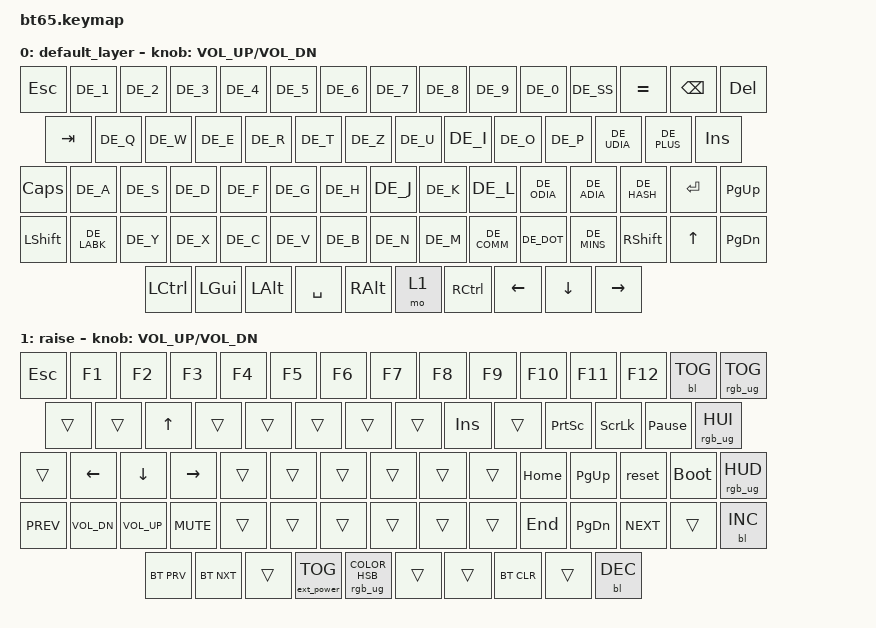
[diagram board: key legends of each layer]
#include <behaviors.dtsi>
#include <dt-bindings/zmk/keys.h>
#include <dt-bindings/zmk/bt.h>
#include <dt-bindings/zmk/rgb.h>
#include <dt-bindings/zmk/backlight.h>
#include <dt-bindings/zmk/ext_power.h>
#include "keymap_german.h"


/ {
	keymap {
		compatible = "zmk,keymap";

		default_layer {
				// ------------------------------------------------------------------------------------------------------------
				// |  ESC  |  1  |  2  |  3  |  4  |  5  |  6  |  7  |  8  |  9  |  0  |  ß  |  =  |BKSP | DEL		|
				// | TAB  |  Q  |  W  |  E  |  R  |  T  |  Z  |  U  |  I  |  O  |  P  |  Ü  |  +  |    INS	|
				// | CAPS  |  A  |  S  |  D  |  F  |  G  |  H  |  J  |  K  |  L  |  Ö  |  Ä  |  #  |   ENTER   |PGUP	|
				// |  SHIFT |  <  |  Y  |  X  |  C  |  V  |  B  |  N  |  M  |  ,  |  .  |  - |   SHIFT  | UP   |   PGDN |
				// |  CTL  |  WIN  |  ALT  |          SPACE           | ALT | Layer 1 |  CTL| LEFT |  DOWN    | RIGHT	|
				// ------------------------------------------------------------------------------------------------------------
			bindings = <

				&kp ESC &kp DE_1 &kp DE_2 &kp DE_3 &kp DE_4 &kp DE_5 &kp DE_6 &kp DE_7 &kp  DE_8   &kp  DE_9   &kp DE_0 &kp DE_SS &kp EQUAL &kp BKSP &kp DEL
				&kp TAB  &kp DE_Q  &kp DE_W  &kp DE_E  &kp DE_R  &kp DE_T  &kp DE_Z  &kp DE_U  &kp  DE_I    &kp  DE_O  &kp  DE_P   &kp DE_UDIA &kp DE_PLUS &kp INS
				&kp CLCK  &kp DE_A  &kp DE_S  &kp DE_D  &kp DE_F  &kp DE_G  &kp DE_H  &kp DE_J  &kp  DE_K    &kp  DE_L  &kp DE_ODIA &kp DE_ADIA &kp DE_HASH &kp RET &kp PG_UP
				&kp LSHFT &kp DE_LABK &kp DE_Y  &kp DE_X  &kp DE_C  &kp DE_V  &kp DE_B  &kp DE_N  &kp DE_M  &kp DE_COMM &kp DE_DOT &kp DE_MINS &kp RSHFT &kp UP &kp PG_DN
				&kp LCTRL &kp LGUI &kp LALT            &kp SPACE                          &kp RALT  &mo 1 &kp RCTL &kp LEFT &kp DOWN &kp RIGHT
			>;
			sensor-bindings = <&inc_dec_kp C_VOL_UP C_VOL_DN>;
		};
		raise {
				// ------------------------------------------------------------------------------------------------------------
				// |  ESC  |  F1  |  F2  |  F3  |  F4  |  F5  |  F6  |  F7  |  F8  |  F9  |  F10  |  F11  |  F12  | BL Toggle | RGB Toggle |
				// |   |    |  UP  |    |    |    |    |    |  INS  |    |  Print Screen  |  Scroll Lock  |   PAUSE |  RGB Incr HUE	|
				// |   |  LEFT  |  DOWN  |  RIGHT  |    |    |    |    |    |    |  HOME  |  PGUP  |  Reboot  |   Reset Bootloader   |RGB Decr HUE	|
				// |  Media Prev |  Vol Down  |  Vol UP  |  Mute  |    |    |    |    |    |    |  END  |  PGDN |   Media Next  |    |   BL Bright Increase |
				// |  BT Prev  |  BT Next  |    |                     |    |    |    |    |  BT Clear    | BL Bright Decrease	|
				// ------------------------------------------------------------------------------------------------------------
			bindings = <
				&kp ESC &kp F1 &kp F2 &kp F3 &kp F4 &kp F5 &kp F6 &kp F7 &kp  F8   &kp  F9   &kp F10  &kp F11 &kp F12 &bl BL_TOG &rgb_ug RGB_TOG
				&trans &trans &kp UP &trans &trans &trans &trans &trans &kp INS &trans &kp PSCRN &kp SLCK &kp PAUSE_BREAK   &rgb_ug RGB_HUI
				&trans    &kp LEFT &kp DOWN &kp RIGHT &trans &trans &trans &trans &trans &trans &kp HOME  &kp PG_UP &reset  &bootloader &rgb_ug RGB_HUD
				&kp C_PREV &kp C_VOL_DN &kp C_VOL_UP &kp C_MUTE &trans &trans &trans &trans &trans &trans &kp END &kp PG_DN  &kp C_NEXT &trans &bl BL_INC
				&bt BT_PRV &bt BT_NXT  &trans              &ext_power EP_TOG                            &rgb_ug RGB_COLOR_HSB(343,85,48)   &trans   &trans &bt BT_CLR &trans &bl BL_DEC
			>;
			sensor-bindings = <&inc_dec_kp C_VOL_UP C_VOL_DN>;
		};
	};
};
